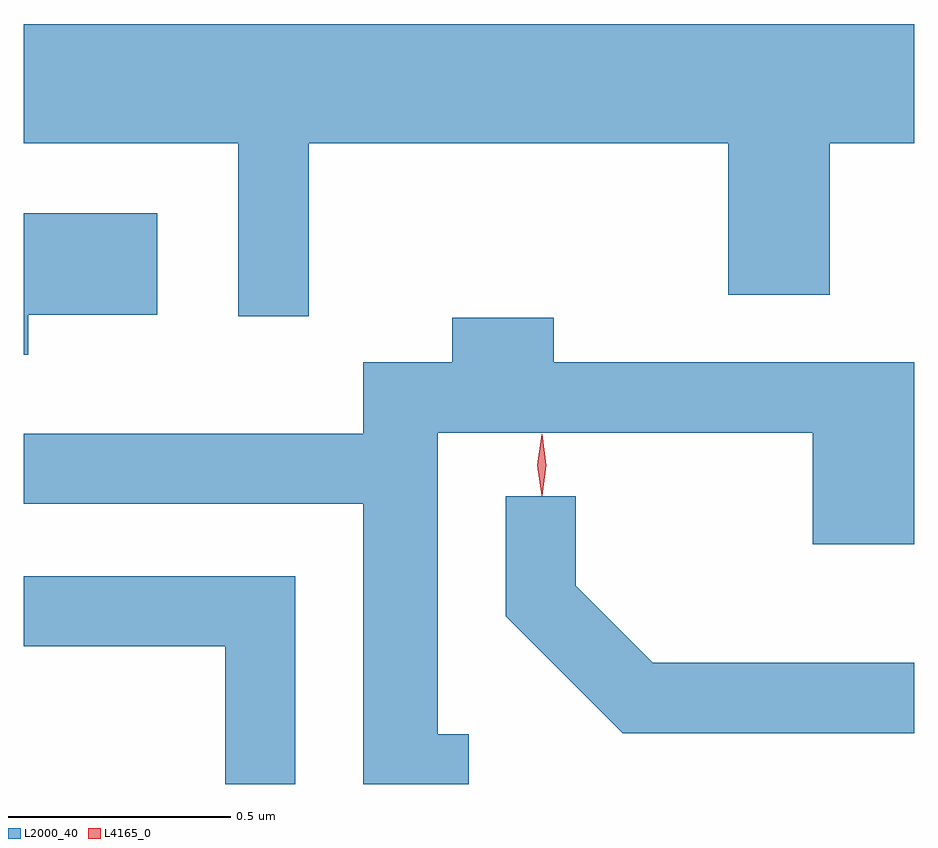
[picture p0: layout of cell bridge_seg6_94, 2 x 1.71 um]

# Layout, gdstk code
import gdstk
lib = gdstk.Library(unit=1e-6, precision=1e-09)
def P(c, l, *ps):  # polygons
    for p in ps: c.add(gdstk.Polygon(p, *l))
L2000_40 = (2000, 40)
L4165_0 = (4165, 0)

bridge_seg6_94 = lib.new_cell('bridge_seg6_94')
P(bridge_seg6_94, L2000_40, [(1063.529,1667.696),(1064.471,1667.696),(1064.471,1667.356),(1064.699,1667.356),(1064.699,1667.696),(1064.889,1667.696),(1064.889,1667.964),(1062.889,1667.964),(1062.889,1667.696),(1063.371,1667.696),(1063.371,1667.308),(1063.529,1667.308)],
  [(1062.899,1667.311),(1063.189,1667.311),(1063.189,1667.539),(1062.889,1667.539),(1062.889,1667.221),(1062.899,1667.221)],
  [(1063.888,1666.369),(1063.819,1666.369),(1063.819,1667.046),(1064.661,1667.046),(1064.661,1666.796),(1064.889,1666.796),(1064.889,1667.204),(1064.079,1667.204),(1064.079,1667.304),(1063.851,1667.304),(1063.851,1667.204),(1063.651,1667.204),(1063.651,1667.044),(1062.889,1667.044),(1062.889,1666.886),(1063.651,1666.886),(1063.651,1666.257),(1063.888,1666.257)],
  [(1064.889,1666.529),(1064.302,1666.529),(1064.129,1666.702),(1064.129,1666.903),(1063.971,1666.903),(1063.971,1666.634),(1064.234,1666.371),(1064.889,1666.371)],
  [(1063.499,1666.724),(1062.889,1666.724),(1062.889,1666.566),(1063.341,1666.566),(1063.341,1666.257),(1063.499,1666.257)])
P(bridge_seg6_94, L4165_0, [(1064.052,1666.903),(1064.052,1666.904),(1064.042,1666.973),(1064.052,1667.042),(1064.052,1667.043),(1064.053,1667.042),(1064.062,1666.973),(1064.053,1666.904)])

lib.write_gds('bridge_seg6_94.gds')
